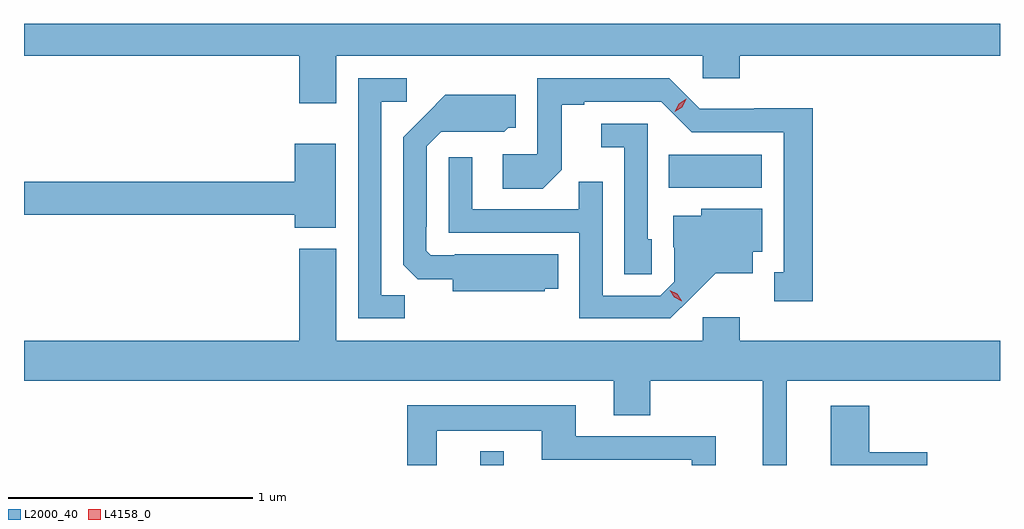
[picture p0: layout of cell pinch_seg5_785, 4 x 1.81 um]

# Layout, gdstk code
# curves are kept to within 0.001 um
import gdstk
lib = gdstk.Library(unit=1e-6, precision=1e-09)
def R(c, l, rs):  # rectangles x0, y0, x1, y1
    for r in rs: c.add(gdstk.rectangle(r[:2], r[2:], *l))
def P(c, l, *ps):  # polygons
    for p in ps: c.add(gdstk.Polygon(p, *l))
L2000_40 = (2000, 40)
L4158_0 = (4158, 0)

pinch_seg5_785 = lib.new_cell('pinch_seg5_785')
R(pinch_seg5_785, L2000_40, [(772.625,913.689,772.723,913.747), (773.398,914.828,773.779,914.962)])
P(pinch_seg5_785, L2000_40, [(772.036,915.368),(773.538,915.368),(773.538,915.275),(773.69,915.275),(773.69,915.368),(774.756,915.368),(774.756,915.5),(770.756,915.5),(770.756,915.368),(771.884,915.368),(771.884,915.174),(772.036,915.174)],
  [(772.317,914.387),(772.221,914.387),(772.221,915.18),(772.324,915.18),(772.324,915.276),(772.125,915.276),(772.125,914.292),(772.317,914.292)],
  [(773.989,915.152),(773.748,915.152),(773.748,915.15),(773.526,915.15),(773.4,915.276),(772.86,915.276),(772.86,914.964),(772.719,914.964),(772.719,914.824),(772.883,914.824),(772.959,914.9),(772.959,915.168),(773.053,915.168),(773.053,915.18),(773.367,915.18),(773.493,915.054),(773.87,915.054),(773.87,914.481),(773.831,914.481),(773.831,914.361),(773.989,914.361)],
  [(772.89,914.414),(772.946,914.414),(772.946,914.554),(772.522,914.554),(772.522,914.55),(772.422,914.55),(772.404,914.568),(772.404,914.668),(772.407,914.668),(772.407,914.997),(772.467,915.057),(772.724,915.056),(772.74,915.072),(772.771,915.072),(772.771,915.208),(772.483,915.208),(772.311,915.034),(772.311,914.512),(772.37,914.453),(772.514,914.453),(772.514,914.402),(772.89,914.402)],
  [(773.328,914.616),(773.313,914.616),(773.313,915.09),(773.121,915.09),(773.121,914.993),(773.217,914.993),(773.217,914.473),(773.328,914.473)],
  [(772.033,915.007),(771.866,915.007),(771.866,914.852),(770.756,914.852),(770.756,914.716),(771.866,914.716),(771.866,914.663),(772.033,914.663)],
  [(773.488,914.375),(773.591,914.477),(773.743,914.477),(773.743,914.564),(773.782,914.564),(773.782,914.74),(773.532,914.74),(773.532,914.713),(773.417,914.713),(773.417,914.584),(773.421,914.584),(773.421,914.442),(773.364,914.385),(773.127,914.385),(773.127,914.852),(773.029,914.852),(773.029,914.739),(772.593,914.739),(772.593,914.953),(772.497,914.953),(772.497,914.643),(773.031,914.643),(773.031,914.292),(773.404,914.292)],
  [(773.882,914.036),(774.756,914.036),(774.756,914.2),(773.69,914.2),(773.69,914.296),(773.538,914.296),(773.538,914.2),(772.036,914.2),(772.036,914.578),(771.884,914.578),(771.884,914.2),(770.756,914.2),(770.756,914.036),(773.174,914.036),(773.174,913.894),(773.322,913.894),(773.322,914.036),(773.783,914.036),(773.783,913.689),(773.882,913.689)],
  [(772.447,913.832),(772.877,913.832),(772.877,913.713),(773.493,913.713),(773.493,913.689),(773.591,913.689),(773.591,913.809),(773.017,913.809),(773.017,913.936),(772.326,913.936),(772.326,913.689),(772.447,913.689)],
  [(774.457,913.743),(774.221,913.743),(774.221,913.933),(774.062,913.933),(774.062,913.689),(774.457,913.689)])
P(pinch_seg5_785, L4158_0, [(773.422,915.139),(773.422,915.139),(773.439,915.172),(773.47,915.191),(773.471,915.191),(773.471,915.19),(773.454,915.158),(773.422,915.139)],
  [(773.451,914.362),(773.42,914.378),(773.403,914.408),(773.403,914.408),(773.403,914.408),(773.434,914.392),(773.451,914.363),(773.451,914.362)])

lib.write_gds('pinch_seg5_785.gds')
